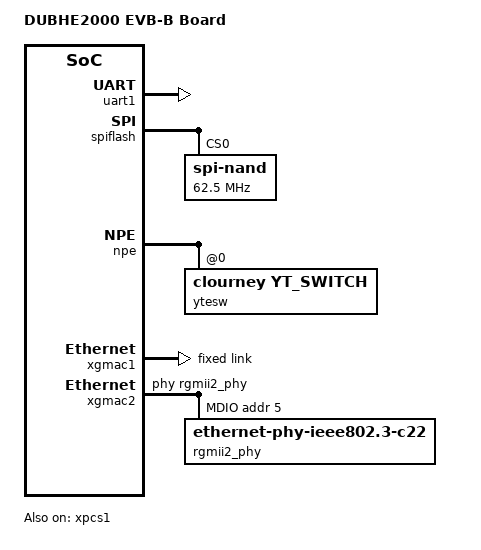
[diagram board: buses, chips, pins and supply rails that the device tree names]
/*
 *  Copyright (c) 2021-2024, Clourney Semiconductor. All rights reserved.
 *
 *  This software and/or documentation is licensed by Clourney Semiconductor under limited terms and conditions.
 *  Reproduction and redistribution in binary or source form, with or without modification,
 *  for use solely in conjunction with a Clourney Semiconductor chipset, is permitted in condition which
 *  must retain the above copyright notice.
 *
 *  By using this software and/or documentation, you agree to the limited terms and conditions.
 *
 *  Device Tree Include file for Clourney Semiconductor SoC.
 *
 */

/dts-v1/;
/include/ "clourneysemi-dubhe2000.dtsi"

/ {
	model = "DUBHE2000 EVB-B Board";
	compatible = "clourneysemi,dubhe2000_rdb";
	#size-cells = <0x2>;
	#address-cells = <0x2>;

	chosen {
		stdout-path = &uart1;
	};
};

&uart1 {
	status = "okay";
};

&spiflash {
	busclk = <250000000>;
	spi-max-frequency = <62500000>;
	rx-sample-delay-ns = <8>;
	status = "okay";
	spi-nand@0 {
		compatible = "spi-nand";
		reg = <0>;
		spi-max-frequency = <62500000>;
		status = "okay";
	};
};

&npe {

	mdio: mdio {
		compatible = "clourney,mdio";
		#address-cells = <1>;
		#size-cells = <0>;
		device_type = "mdio";
		id = <0>;
		clk_csr = <1>;
		status = "okay";
		regs,phys_reset_init = <0x90410054 0xFFFF 0x6008>;
	};

	ytesw@0 {
		compatible = "clourney,yt_switch";
		mdio-bus = <&mdio>;
		port-isolation="oooooox";
		/* rgmii. txc delay = txc_2ns_en * 2ns + txc_delay * 0.15ns;rxc delay = rxc_delay * 0.15ns */
		rgmii-rxc_delay = <1>;
		rgmii-txc_delay = <2>;
		rgmii-txc_2ns_en = <1>;
		reset-gpio = <4>;
	};
};

&xpcs0 {
	status = "disabled";
};

&xpcs1 {
        phy-mode = "2500base-x";
        status = "okay";
};

&xgmac0 {
	status = "disabled";
};

&xgmac1 {
        mode = "non-rgmii";
        max-speed = <2500>;
        mac-address = [a0 c0 ab 39 cc f3];
        status = "okay";
		fixed-link {
			speed = <2500>;
			full-duplex;
			pause;
	};
};


&xgmac2 {
	mode = "rgmii";
	max-speed = <1000>;
	mac-address = [a0 c0 ab 39 cc f2];
	rgmii-rx-delay;
	phy-handle = <&rgmii2_phy>;
	rgmii-rx-delay = <1>;
	status = "okay";

	mdio2 {
	compatible = "clourney,mdio";
	#address-cells = <1>;
	#size-cells = <0>;
	device_type = "mdio";
	clk_csr = <1>;
	status = "okay";
	regs,phys_reset_init =	<0x90420090 0x6 0x6>,
				<0x90420094 0xF 0x2>;
	rgmii2_phy: ethernet-phy@7 {
		compatible = "ethernet-phy-ieee802.3-c22";
		reg = <0x5>;
		mdio-flags = <1>;
		};
	};
};

&xgmac3 {
	status = "disabled";
};

&xgmac4 {
        mode = "rgmii";
        max-speed = <1000>;
        mac-address = [a0 c0 ab 39 cc f2];
		rgmii-rx-delay = <0>;
		rgmii-tx-delay = <2>;
        status = "disabled";
		fixed-link {
			speed = <1000>;
			full-duplex;
			pause;
		};
};

